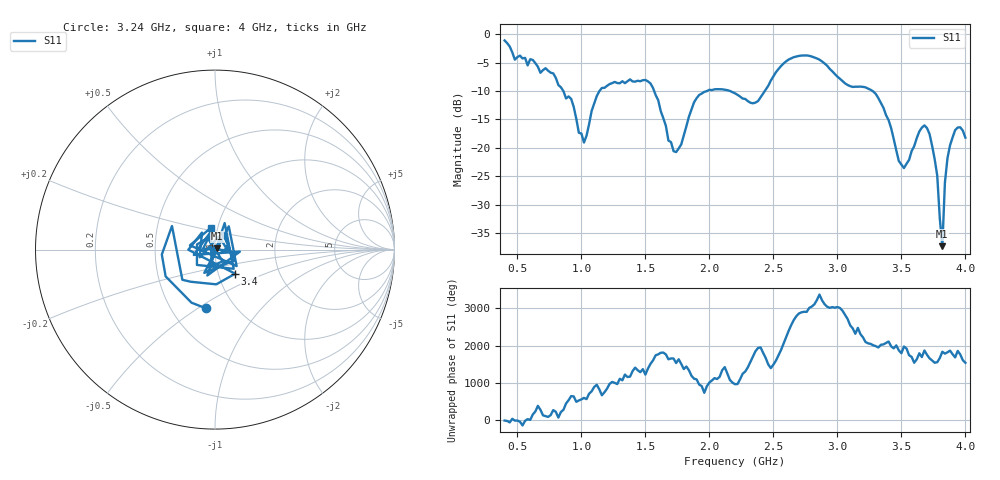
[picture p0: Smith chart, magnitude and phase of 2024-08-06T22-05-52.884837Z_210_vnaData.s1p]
!Created with skrf (http://scikit-rf.org).
# Hz S RI R 50.0
!freq ReS11 ImS11
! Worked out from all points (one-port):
!   181 points, 400 MHz to 4 GHz, reference 50 ohm
!   lowest |S11| = -37.3 dB at 3.82 GHz (marker M1), VSWR 1.03, Z = 51.1 + j0.814 ohm
!   |S11| at or under -10 dB: 858.5 MHz to 1.141 GHz (282.9 MHz wide, 28.3 % of centre); 1.568 GHz to 1.982 GHz (414.3 MHz wide, 23.3 % of centre); 3.274 GHz to end of sweep (the widest 3 of 4)
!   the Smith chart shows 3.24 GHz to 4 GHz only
!   S11 on the Smith chart (normalised r, x): 3.24 GHz: 0.74, -0.54; 3.4 GHz: 1.20, -0.33; 4 GHz: 0.93, +0.23
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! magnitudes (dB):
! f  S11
! 400 MHz  -1.1
! 480 MHz  -4.5
! 860 MHz  -10.1
! 920 MHz  -11.4
! 1.02 GHz  -19.1
! 1.14 GHz  -10.0
! 1.3 GHz  -8.7
! 1.54 GHz  -8.7
! 1.68 GHz  -18.7
! 1.76 GHz  -20.1
! 1.92 GHz  -10.7
! 2.2 GHz  -10.4
! 2.38 GHz  -11.8
! 2.66 GHz  -4.1
! 2.86 GHz  -4.5
! 3.1 GHz  -9.2
! 3.24 GHz  -9.6
! 3.4 GHz  -15.1
! 3.48 GHz  -22.3
! 3.56 GHz  -22.1
! 3.66 GHz  -16.4
! 3.72 GHz  -17.6
! 3.78 GHz  -24.9
! 3.82 GHz  -37.3
! 3.84 GHz  -26.1
! 3.88 GHz  -19.6
! 3.94 GHz  -16.4
! 4 GHz  -18.2
